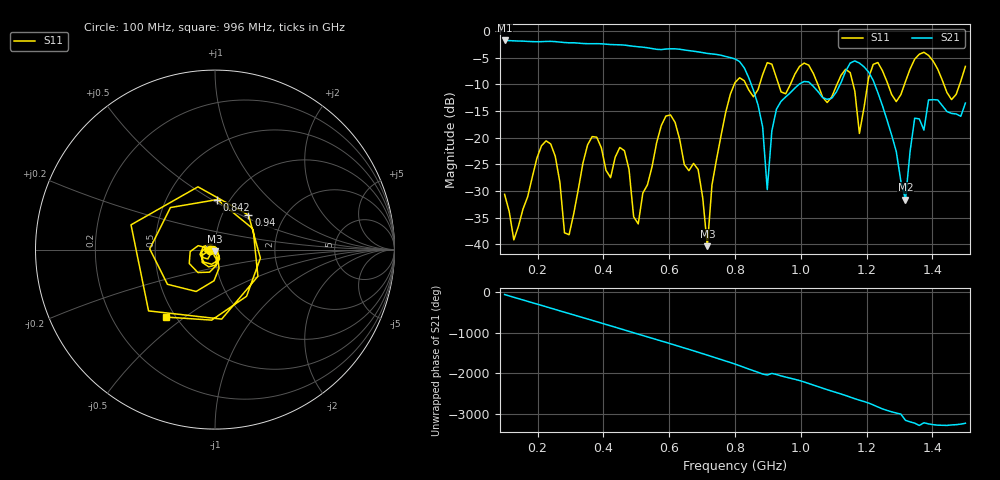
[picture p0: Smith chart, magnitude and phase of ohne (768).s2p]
! NanoVNA-App
! Date: 2025-09-25 14:26:47
! Start: 100MHz Stop: 1,5GHz Points: 101
! S-Parameter data: F S11 S21 S12 S22
# Hz S RI R 50
!  Frequency  S11_Real  S11_Imag  S21_Real  S21_Imag  S12_Real  S12_Imag  S22_Real  S22_Imag
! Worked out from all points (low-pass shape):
!   101 points, 100 MHz to 1.5 GHz, reference 50 ohm
!   highest |S21| = -1.79 dB at 100 MHz (marker M1); lowest = -31.6 dB at 1.318 GHz (marker M2)
!   |S21| within 3 dB of the highest: start of sweep to 771.2 MHz
!   lowest |S11| = -40.3 dB at 716 MHz (marker M3), VSWR 1.02, Z = 49.8 - j0.947 ohm
!   |S11| at or under -10 dB: start of sweep to 797.9 MHz; 833.3 MHz to 875 MHz (41.69 MHz wide, 4.88 % of centre); 1.052 GHz to 1.11 GHz (58.38 MHz wide, 5.4 % of centre) (the widest 3 of 7)
!   S12 and S22 are empty: the file has one direction only
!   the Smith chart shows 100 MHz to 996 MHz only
!   S11 on the Smith chart (normalised r, x): 100 MHz: 0.94, -0.01; 842 MHz: 0.88, +0.53; 940 MHz: 1.33, +0.55; 996 MHz: 0.45, -0.43
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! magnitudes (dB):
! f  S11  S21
! 100 MHz  -30.6  -1.8
! 128 MHz  -39.2  -1.9
! 226 MHz  -20.6  -2.0
! 296 MHz  -38.2  -2.2
! 338 MHz  -24.8  -2.4
! 464 MHz  -22.4  -2.7
! 506 MHz  -36.2  -3.0
! 576 MHz  -17.8  -3.5
! 688 MHz  -26.0  -3.9
! 716 MHz  -40.3  -4.2
! 800 MHz  -9.7  -5.3
! 842 MHz  -11.1  -8.8
! 898 MHz  -6.0  -29.7
! 940 MHz  -11.4  -13.2
! 996 MHz  -6.7  -9.9
! 1.038 GHz  -8.0  -10.4
! 1.178 GHz  -19.2  -6.0
! 1.22 GHz  -6.3  -9.3
! 1.276 GHz  -11.9  -19.5
! 1.318 GHz  -9.5  -31.6
! 1.346 GHz  -5.3  -16.4
! 1.5 GHz  -6.7  -13.5
